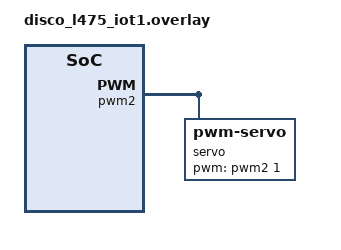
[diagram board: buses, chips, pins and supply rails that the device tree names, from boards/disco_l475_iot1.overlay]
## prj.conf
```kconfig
CONFIG_NETWORKING=y
CONFIG_NET_IPV4=y
CONFIG_NET_TCP=y
CONFIG_NET_SOCKETS=y

# WiFi
CONFIG_WIFI=y
CONFIG_NET_L2_WIFI_MGMT=y
CONFIG_NET_MGMT=y
CONFIG_NET_MGMT_EVENT=y

# DHCP
CONFIG_NET_DHCPV4=y

# MQTT
CONFIG_MQTT_LIB=y

# Logging
CONFIG_LOG=y
CONFIG_LOG_DEFAULT_LEVEL=3

# System
CONFIG_MAIN_STACK_SIZE=8192
CONFIG_HEAP_MEM_POOL_SIZE=16384
CONFIG_NEWLIB_LIBC=y

# Random
CONFIG_ENTROPY_GENERATOR=y
CONFIG_TEST_RANDOM_GENERATOR=y


# Network Configuration
CONFIG_NET_CONFIG_AUTO_INIT=n
CONFIG_NET_CONNECTION_MANAGER=y
CONFIG_NET_DHCPV4_SERVER=y
CONFIG_NET_IF_MAX_IPV4_COUNT=2
CONFIG_NET_IF_MAX_IPV6_COUNT=2
CONFIG_NET_L2_ETHERNET=y
CONFIG_NET_MGMT_EVENT_INFO=y
CONFIG_NET_MGMT_EVENT_QUEUE_SIZE=10
CONFIG_NET_MGMT_EVENT_STACK_SIZE=4096
CONFIG_NET_PKT_RX_COUNT=16
CONFIG_NET_PKT_TX_COUNT=16
CONFIG_NET_SOCKETS_SERVICE_STACK_SIZE=4096
CONFIG_NET_UDP=y

# LOG Configuration
CONFIG_NET_LOG=y
CONFIG_NET_DHCPV4_SERVER_LOG_LEVEL_DBG=y

CONFIG_BT=y
CONFIG_BT_OBSERVER=y
CONFIG_BT_BROADCASTER=y
```

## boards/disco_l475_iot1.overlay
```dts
/* Define a PWM servo device using pwm2 channel 1 */
&pwm2 {
    servo: servo {
        compatible = "pwm-servo";
        pwms = <&pwm2 1 PWM_MSEC(20) PWM_POLARITY_NORMAL>; /* Channel 1, 20ms period (50Hz) */
        min-pulse = <PWM_USEC(1000)>;
        max-pulse = <PWM_USEC(20500)>;
        label = "servo";
    };
};
```

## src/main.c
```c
#include <zephyr/kernel.h>
#include <zephyr/net/socket.h>
#include <zephyr/net/mqtt.h>
#include <zephyr/net/net_mgmt.h>
#include <zephyr/net/wifi_mgmt.h>
#include <zephyr/logging/log.h>
#include <zephyr/drivers/gpio.h>
#include <zephyr/bluetooth/bluetooth.h>
#include <zephyr/bluetooth/hci.h>
#include <zephyr/random/random.h>
#include <stdio.h>
#include <string.h>
#include <stdlib.h>
#include <ctype.h>

LOG_MODULE_REGISTER(disco_ultrasonic, LOG_LEVEL_INF);

#define WIFI_SSID "Jake_iphone"
#define WIFI_PSK  "bbbooooo"

#define MQTT_BROKER_ADDR "172.20.10.11"
#define MQTT_BROKER_PORT 1883
#define MQTT_CLIENT_ID "disco_ultrasonic_node"

/* MQTT Topics for Pump Control */
#define MQTT_TOPIC_PUMP_CONTROL "pump/activate"

static struct mqtt_client client_ctx;
static uint8_t rx_buffer[256], tx_buffer[256];
static struct sockaddr_storage broker;
static struct zsock_pollfd fds[1];
static int nfds;
static bool connected = false;

/************************************************************************/
/* PUMP CONTROL CONFIGURATION                                           */
/************************************************************************/

/* Pump control GPIO pin */
#define PUMP_CONTROL_PIN 2  // Using pin 6 for pump control

/* Global variables for pump control */
static bool pump_active = false;
static struct k_mutex pump_mutex;

static const struct device *trig_port = DEVICE_DT_GET(DT_NODELABEL(gpioc));
static const struct device *echo_port = DEVICE_DT_GET(DT_NODELABEL(gpioc));

/* Ultrasonic sensor pins */
#define ULTRASONIC1_TRIG_PIN 5
#define ULTRASONIC1_ECHO_PIN 4

/* Configuration */
#define ULTRASONIC_TIMEOUT_USEC 500000 /* Maximum timeout for echo pulse (25ms) */
#define MEASUREMENT_INTERVAL_MS 1000   /* Time between measurements in ms */
#define SOUND_SPEED_MPS 343           /* Speed of sound in m/s at room temp */

/* Global variables for ultrasonic */
static struct gpio_callback echo1_cb_data;
static uint32_t echo1_start_time;
static uint32_t echo1_pulse_duration;
static volatile bool echo1_received = false;
static uint16_t distance1_mm = 0;
static struct k_mutex distance_mutex;

/************************************************************************/
/* BLUETOOTH LE IBEACON CONFIGURATION                                   */
/************************************************************************/

#define IBEACON_PREFIX_LEN 9
#define IBEACON_UUID_LEN 16
#define IBEACON_PAYLOAD_LEN 30

static const uint8_t beacon_uuid[16] = {
    0xFF, 0xFF, 0xFF, 0xFF, 0xFF, 0xFF, 0xFF, 0xFF,
    0xFF, 0xFF, 0xFF, 0xFF, 0xFF, 0xFF, 0xF2, 0xF2,
};

/* Reusable function to update and advertise distance as iBeacon */
static void advertise_distance(uint16_t distance_mm)
{
    uint8_t adv_data[IBEACON_PAYLOAD_LEN] = {
        0x02, 0x01, 0x06,                         // Flags
        0x1A, 0xFF,                               // Length, Manufacturer Specific
        0x4C, 0x00,                               // Apple Company ID
        0x02, 0x15                                // iBeacon type and length
    };

    memcpy(&adv_data[9], beacon_uuid, IBEACON_UUID_LEN);

    adv_data[25] = (distance_mm >> 8) & 0xFF;     // Major (high byte)
    adv_data[26] = distance_mm & 0xFF;            // Major (low byte)

    adv_data[27] = 0x00;                          // Minor high byte (set to 0)
    adv_data[28] = 0x01;                          // Minor low byte

    adv_data[29] = 0xC5;                          // Measured Power

    struct bt_data ad[] = {
        BT_DATA_BYTES(BT_DATA_FLAGS, BT_LE_AD_GENERAL | BT_LE_AD_NO_BREDR),
        BT_DATA(BT_DATA_MANUFACTURER_DATA, &adv_data[5], 25)
    };

    struct bt_le_adv_param adv_param = {
        .id = BT_ID_DEFAULT,
        .sid = 0,
        .secondary_max_skip = 0,
        .options = BT_LE_ADV_OPT_USE_NAME,
        .interval_min = 0x00A0,
        .interval_max = 0x00A0,
        .peer = NULL
    };

    bt_le_adv_stop();
    int err = bt_le_adv_start(&adv_param, ad, ARRAY_SIZE(ad), NULL, 0);
    if (err) {
        LOG_ERR("iBeacon adv start failed (err %d)", err);
    } else {
        // LOG_INF("iBeacon advertising distance: %u mm", distance_mm);
    }
}

/************************************************************************/
/* ULTRASONIC SENSOR FUNCTIONS                                          */
/************************************************************************/

/* Echo pin interrupt handler for sensor 1 */
static void echo1_handler(const struct device *dev, struct gpio_callback *cb, uint32_t pins)
{
    int val = gpio_pin_get(echo_port, ULTRASONIC1_ECHO_PIN);
    
    if (val > 0) {
        /* Rising edge - start timing */
        echo1_start_time = k_cycle_get_32();
    } else {
        /* Falling edge - end timing and calculate duration */
        uint32_t end_time = k_cycle_get_32();
        echo1_pulse_duration = k_cyc_to_us_floor32(end_time - echo1_start_time);
        echo1_received = true;
    }
}

/* Calculate distance from pulse duration */
static uint16_t calculate_distance_mm(uint32_t pulse_duration_us)
{
    /* Distance = (Time × Speed of Sound) ÷ 2
     * Time is in microseconds, speed of sound is in meters per second
     * Convert to millimeters: multiply by 1000
     * Result: Distance (mm) = (Time (us) × Speed (m/s) × 1000) ÷ (2 × 1000000)
     * Simplified: Distance (mm) = (Time (us) × Speed (m/s)) ÷ 2000
     */
    if (pulse_duration_us > ULTRASONIC_TIMEOUT_USEC) {
        return 0; // Error or out of range
    }
    
    return (pulse_duration_us * SOUND_SPEED_MPS) / 2000;
}

/* Trigger ultrasonic measurement for sensor 1 */
static void trigger_sensor1(void)
{
    echo1_received = false;
    
    /* Send 10us pulse to trigger pin */
    gpio_pin_set(trig_port, ULTRASONIC1_TRIG_PIN, 1);
    k_busy_wait(10);
    gpio_pin_set(trig_port, ULTRASONIC1_TRIG_PIN, 0);
    
    /* Wait for echo with timeout */
    k_busy_wait(2); // Short delay to ensure trigger pulse is completed
    uint32_t start_wait = k_uptime_get_32();
    while (!echo1_received) {
        if (k_uptime_get_32() - start_wait > ULTRASONIC_TIMEOUT_USEC / 1000) {
            LOG_WRN("Sensor 1 timeout");
            break;
        }
        k_msleep(1);
    }
    
    if (echo1_received) {
        uint16_t new_distance = calculate_distance_mm(echo1_pulse_duration);
        
        k_mutex_lock(&distance_mutex, K_FOREVER);
        distance1_mm = new_distance;
        k_mutex_unlock(&distance_mutex);
        
        // LOG_INF("Sensor 1 distance: %u mm", distance1_mm);
    }
}

/* Initialize GPIO for pump control */
static int init_pump_gpio(void)
{
    if (!device_is_ready(trig_port)) { // Reusing the same GPIO port
        LOG_ERR("GPIO port not ready for pump control");
        return -ENODEV;
    }

    gpio_pin_configure(trig_port, PUMP_CONTROL_PIN, GPIO_OUTPUT);
    gpio_pin_set(trig_port, PUMP_CONTROL_PIN, 0); // Start with pump off
    
    LOG_INF("Pump control GPIO initialized on pin %d", PUMP_CONTROL_PIN);
    return 0;
}

/* Set pump state */
static void set_pump_state(bool active)
{
    k_mutex_lock(&pump_mutex, K_FOREVER);
    pump_active = active;
    k_mutex_unlock(&pump_mutex);
    
    gpio_pin_set(trig_port, PUMP_CONTROL_PIN, active ? 1 : 0);
    LOG_INF("Pump %s", active ? "ACTIVATED" : "DEACTIVATED");
}
static int init_ultrasonic_gpio(void)
{
    if (!device_is_ready(trig_port) || !device_is_ready(echo_port)) {
        LOG_ERR("GPIO ports not ready");
        return -ENODEV;
    }

    gpio_pin_configure(trig_port, ULTRASONIC1_TRIG_PIN, GPIO_OUTPUT);
    gpio_pin_configure(echo_port, ULTRASONIC1_ECHO_PIN, GPIO_INPUT);
    
    gpio_pin_interrupt_configure(echo_port, ULTRASONIC1_ECHO_PIN, GPIO_INT_EDGE_BOTH);

    /* Configure interrupt for echo pin 1 */
    gpio_init_callback(&echo1_cb_data, echo1_handler, BIT(ULTRASONIC1_ECHO_PIN));
    gpio_add_callback(echo_port, &echo1_cb_data);
    
    return 0;
}

/************************************************************************/
/* WIFI CONFIGURATION                                                   */
/************************************************************************/

#define NET_EVENT_WIFI_MASK                                                                        \
	(NET_EVENT_WIFI_CONNECT_RESULT | NET_EVENT_WIFI_DISCONNECT_RESULT |                        \
	 NET_EVENT_WIFI_AP_ENABLE_RESULT | NET_EVENT_WIFI_AP_DISABLE_RESULT |                      \
	 NET_EVENT_WIFI_AP_STA_CONNECTED | NET_EVENT_WIFI_AP_STA_DISCONNECTED)

/* Network management */
static struct net_mgmt_event_callback wifi_cb;
static bool wifi_connected_flag = false;
static struct net_if *sta_iface;
static struct wifi_connect_req_params sta_config;

static void wifi_event_handler(struct net_mgmt_event_callback *cb, uint32_t mgmt_event,
			       struct net_if *iface)
{
	switch (mgmt_event) {
	case NET_EVENT_WIFI_CONNECT_RESULT: {
		LOG_INF("Connected to %s", WIFI_SSID);
        wifi_connected_flag = true;
		break;
	}
	case NET_EVENT_WIFI_DISCONNECT_RESULT: {
		LOG_INF("Disconnected from %s", WIFI_SSID);
        wifi_connected_flag = false;
		break;
	}
	default:
		break;
	}
}

static int connect_to_wifi(void)
{
	if (!sta_iface) {
		LOG_INF("STA: interface not initialized");
		return -EIO;
	}

	sta_config.ssid = (const uint8_t *)WIFI_SSID;
	sta_config.ssid_length = strlen(WIFI_SSID);
	sta_config.psk = (const uint8_t *)WIFI_PSK;
	sta_config.psk_length = strlen(WIFI_PSK);
	sta_config.security = WIFI_SECURITY_TYPE_PSK;
	sta_config.channel = WIFI_CHANNEL_ANY;
	sta_config.band = WIFI_FREQ_BAND_2_4_GHZ;

	LOG_INF("Connecting to SSID: %s\n", sta_config.ssid);

	int ret = net_mgmt(NET_REQUEST_WIFI_CONNECT, sta_iface, &sta_config,
			   sizeof(struct wifi_connect_req_params));
	if (ret) {
		LOG_ERR("Unable to Connect to (%s)", WIFI_SSID);
	}

	return ret;
}

void wifi_thread(void) {
    LOG_INF("Disco Board Ultrasonic Node Starting...");

    // Connect to wifi
    net_mgmt_init_event_callback(&wifi_cb, wifi_event_handler, NET_EVENT_WIFI_MASK);
    net_mgmt_add_event_callback(&wifi_cb);

	/* Get STA interface in AP-STA mode. */
	sta_iface = net_if_get_wifi_sta();

	connect_to_wifi();

    /* Wait for wifi connection */
    while (!wifi_connected_flag) {
        k_msleep(100);
    }
    LOG_INF("Connected to wifi");
}

K_THREAD_DEFINE(wifi_thread_id, 956, wifi_thread, NULL, NULL, NULL, 7, 0, 0);

/************************************************************************/
/* MQTT CONFIGURATION                                                   */
/************************************************************************/

/* Parse pump command from MQTT payload */
static bool parse_pump_command_from_payload(const uint8_t *payload, uint32_t len)
{
    char command_str[16];
    
    if (len >= sizeof(command_str)) {
        LOG_ERR("Payload too long");
        return false;
    }
    
    memcpy(command_str, payload, len);
    command_str[len] = '\0';
    
    // Convert to lowercase for comparison
    for (int i = 0; command_str[i]; i++) {
        command_str[i] = tolower(command_str[i]);
    }
    
    if (strcmp(command_str, "on") == 0 || strcmp(command_str, "1") == 0 || 
        strcmp(command_str, "true") == 0 || strcmp(command_str, "activate") == 0) {
        return true;
    } else if (strcmp(command_str, "off") == 0 || strcmp(command_str, "0") == 0 || 
               strcmp(command_str, "false") == 0 || strcmp(command_str, "deactivate") == 0) {
        return false;
    }
    
    LOG_WRN("Unknown pump command: %s", command_str);
    return false;
}

/* Process pump MQTT commands */
static void process_pump_mqtt_payload(struct mqtt_client *client, 
                                    const struct mqtt_publish_param *pub_param)
{
    if (!client || !pub_param) {
        return;
    }
    
    uint32_t payload_len = pub_param->message.payload.len;
    uint32_t topic_len = pub_param->message.topic.topic.size;
    
    if (payload_len == 0 || topic_len == 0) {
        return;
    }
    
    // Create buffers for topic and payload
    uint8_t topic_buffer[64];
    uint8_t payload_buffer[32];
    
    // Read topic
    uint32_t topic_bytes_to_read = topic_len < (sizeof(topic_buffer) - 1) ? 
                                   topic_len : (sizeof(topic_buffer) - 1);
    memcpy(topic_buffer, pub_param->message.topic.topic.utf8, topic_bytes_to_read);
    topic_buffer[topic_bytes_to_read] = '\0';
    
    // Read payload
    uint32_t payload_bytes_to_read = payload_len < (sizeof(payload_buffer) - 1) ? 
                                     payload_len : (sizeof(payload_buffer) - 1);
    int bytes_read = mqtt_read_publish_payload(client, payload_buffer, payload_bytes_to_read);
    
    if (bytes_read < 0) {
        LOG_ERR("Failed to read pump payload: %d", bytes_read);
        return;
    }
    
    payload_buffer[bytes_read] = '\0';
    
    // Check if this is the pump control topic
    if (strcmp((char*)topic_buffer, MQTT_TOPIC_PUMP_CONTROL) == 0) {
        bool pump_command = parse_pump_command_from_payload(payload_buffer, bytes_read);
        set_pump_state(pump_command);
        LOG_INF("Received pump command: %s -> %s", 
                payload_buffer, pump_command ? "ON" : "OFF");
    }
}

static void mqtt_evt_handler(struct mqtt_client *const client, const struct mqtt_evt *evt)
{
    switch (evt->type) {
    case MQTT_EVT_CONNACK:
        if (evt->result != 0) {
            LOG_ERR("MQTT connect failed %d", evt->result);
            break;
        }
        connected = true;
        LOG_INF("MQTT client connected!");
        break;

    case MQTT_EVT_DISCONNECT:
        LOG_INF("MQTT client disconnected %d", evt->result);
        connected = false;
        break;

    case MQTT_EVT_PUBLISH: {
        if (evt->result != 0) {
            LOG_ERR("MQTT PUBLISH error: %d", evt->result);
            break;
        }
        
        if (evt->param.publish.message.payload.len == 0) {
            break;
        }
        
        // Process pump command
        process_pump_mqtt_payload(client, &evt->param.publish);
        
        // Acknowledge if QoS 1
        if (evt->param.publish.message.topic.qos == MQTT_QOS_1_AT_LEAST_ONCE) {
            struct mqtt_puback_param puback = {
                .message_id = evt->param.publish.message_id
            };
            mqtt_publish_qos1_ack(client, &puback);
        }
        
        break;
    }

    case MQTT_EVT_PUBACK:
        if (evt->result != 0) {
            LOG_ERR("MQTT PUBACK error %d", evt->result);
            break;
        }
        LOG_DBG("PUBACK packet id: %u", evt->param.puback.message_id);
        break;

    case MQTT_EVT_SUBACK:
        if (evt->result != 0) {
            LOG_ERR("MQTT SUBACK error %d", evt->result);
            break;
        }
        LOG_INF("Successfully subscribed! SUBACK packet id: %u", evt->param.suback.message_id);
        break;

    case MQTT_EVT_UNSUBACK:
        LOG_INF("MQTT UNSUBACK packet id: %u", evt->param.unsuback.message_id);
        break;

    case MQTT_EVT_PINGRESP:
        LOG_DBG("MQTT PINGRESP received");
        break;

    default:
        LOG_DBG("Unhandled MQTT event type: %d", evt->type);
        break;
    }
}

static void broker_init(void)
{
    struct sockaddr_in *broker4 = (struct sockaddr_in *)&broker;

    broker4->sin_family = AF_INET;
    broker4->sin_port = htons(MQTT_BROKER_PORT);
    zsock_inet_pton(AF_INET, MQTT_BROKER_ADDR, &broker4->sin_addr);
}

static void client_init(struct mqtt_client *client)
{
    mqtt_client_init(client);

    broker_init();

    /* MQTT client configuration */
    client->broker = &broker;
    client->evt_cb = mqtt_evt_handler;
    client->client_id.utf8 = (uint8_t *)MQTT_CLIENT_ID;
    client->client_id.size = strlen(MQTT_CLIENT_ID);
    client->password = NULL;
    client->user_name = NULL;
    client->protocol_version = MQTT_VERSION_3_1_1;

    /* MQTT buffers configuration */
    client->rx_buf = rx_buffer;
    client->rx_buf_size = sizeof(rx_buffer);
    client->tx_buf = tx_buffer;
    client->tx_buf_size = sizeof(tx_buffer);

    /* MQTT transport configuration */
    client->transport.type = MQTT_TRANSPORT_NON_SECURE;
}

/* Subscribe to pump control topic */
static int subscribe_to_pump_topic(struct mqtt_client *client)
{
    struct mqtt_topic subs_topic;
    struct mqtt_subscription_list subs_list;

    subs_topic.topic.utf8 = (uint8_t *)MQTT_TOPIC_PUMP_CONTROL;
    subs_topic.topic.size = strlen(MQTT_TOPIC_PUMP_CONTROL);
    subs_topic.qos = MQTT_QOS_0_AT_MOST_ONCE;

    subs_list.list = &subs_topic;
    subs_list.list_count = 1U;
    subs_list.message_id = sys_rand32_get();

    int ret = mqtt_subscribe(client, &subs_list);
    if (ret == 0) {
        LOG_INF("Subscribed to pump control topic: %s", MQTT_TOPIC_PUMP_CONTROL);
    }
    
    return ret;
}

static void poll_mqtt_client(void)
{
    int ret;

    if (zsock_poll(fds, nfds, 1) < 0) {  // Very short timeout for non-blocking
        return;
    }

    if ((fds[0].revents & ZSOCK_POLLIN) == ZSOCK_POLLIN) {
        ret = mqtt_input(&client_ctx);
        if (ret != 0) {
            if (ret == -EAGAIN || ret == -EWOULDBLOCK) {
                LOG_DBG("mqtt_input: no more data available (%d)", ret);
            } else if (ret == -ENOTCONN) {
                LOG_ERR("mqtt_input: connection lost (%d)", ret);
                connected = false;
            } else if (ret == -EBUSY) {
                LOG_DBG("mqtt_input: busy, retrying later (%d)", ret);
            } else {
                LOG_ERR("mqtt_input error: %d", ret);
            }
            return;
        }
    }

    if ((fds[0].revents & (ZSOCK_POLLERR | ZSOCK_POLLHUP))) {
        LOG_ERR("MQTT socket error/hangup");
        connected = false;
    }
}

/************************************************************************/
/* ULTRASONIC SENSOR THREAD                                             */
/************************************************************************/

/* Ultrasonic sensor reading thread */
void ultrasonic_thread(void)
{
    int ret;
    uint16_t local_distance;
    
    LOG_INF("Starting ultrasonic sensor thread");
    
    /* Initialize ultrasonic GPIO */
    ret = init_ultrasonic_gpio();
    if (ret < 0) {
        LOG_ERR("Failed to initialize ultrasonic GPIO: %d", ret);
        return;
    }
    
    /* Initialize pump control GPIO */
    ret = init_pump_gpio();
    if (ret < 0) {
        LOG_ERR("Failed to initialize pump GPIO: %d", ret);
        return;
    }
    
    /* Initialize Bluetooth */
    ret = bt_enable(NULL);
    if (ret) {
        LOG_ERR("Bluetooth init failed (err %d)", ret);
        return;
    }
    LOG_INF("Bluetooth initialized");
    
    LOG_INF("Ultrasonic sensor ready. Starting measurements...");
    
    /* Main ultrasonic reading loop */
    while (1) {
        /* Trigger sensor measurement */
        trigger_sensor1();
        
        /* Get current distance reading */
        k_mutex_lock(&distance_mutex, K_FOREVER);
        local_distance = distance1_mm;
        k_mutex_unlock(&distance_mutex);
        
        /* Advertise distance via BLE iBeacon */
        advertise_distance(local_distance);
        
        k_msleep(MEASUREMENT_INTERVAL_MS);
    }
}

/* Create ultrasonic sensor thread */
K_THREAD_DEFINE(ultrasonic_thread_id, 1024, ultrasonic_thread, NULL, NULL, NULL, 6, 0, 0);

/************************************************************************/
/* MQTT THREAD                                                          */
/************************************************************************/

void mqtt_thread(void) {
    bool mqtt_initialized = false;
    
    /* Wait for wifi connection */
    while (!wifi_connected_flag) {
        k_msleep(100);
    }
    k_msleep(100);
    
    /* Initialize MQTT */
    LOG_INF("Initializing MQTT client");
    client_init(&client_ctx);

    /* Connect to MQTT broker */
    LOG_INF("Connecting to MQTT broker at %s:%d", MQTT_BROKER_ADDR, MQTT_BROKER_PORT);
    int ret = mqtt_connect(&client_ctx);
    if (ret != 0) {
        LOG_ERR("mqtt_connect failed: %d", ret);
        return;
    }

    /* Prepare for polling */
    fds[0].fd = client_ctx.transport.tcp.sock;
    fds[0].events = ZSOCK_POLLIN;
    nfds = 1;

    /* Wait for MQTT connection */
    while (!connected) {
        poll_mqtt_client();
        k_msleep(10);
    }
    mqtt_initialized = true;
    
    LOG_INF("MQTT setup complete. Starting main loop...");
    LOG_INF("Subscribed to pump control topic: %s", MQTT_TOPIC_PUMP_CONTROL);
    
    /* Subscribe to pump control topic */
    ret = subscribe_to_pump_topic(&client_ctx);
    if (ret != 0) {
        LOG_ERR("Failed to subscribe to pump topic: %d", ret);
    }

    /* Main MQTT loop */
    while (1) {
        // Handle MQTT
        if (mqtt_initialized) {
            poll_mqtt_client();
            if (connected) {
                mqtt_live(&client_ctx);  // Keep connection alive
            }
        }
        
        k_msleep(10);  // Short sleep to balance responsiveness
    }
}

K_THREAD_DEFINE(mqtt_thread_id, 1024*3, mqtt_thread, NULL, NULL, NULL, 7, 0, 0);

/************************************************************************/
/* MAIN FUNCTION                                                        */
/************************************************************************/

int main(void) {
    LOG_INF("Starting Disco Board Ultrasonic Node Application");
    
    /* Initialize distance and pump mutexes */
    k_mutex_init(&distance_mutex);
    k_mutex_init(&pump_mutex);
    
    return 0;
}
```
